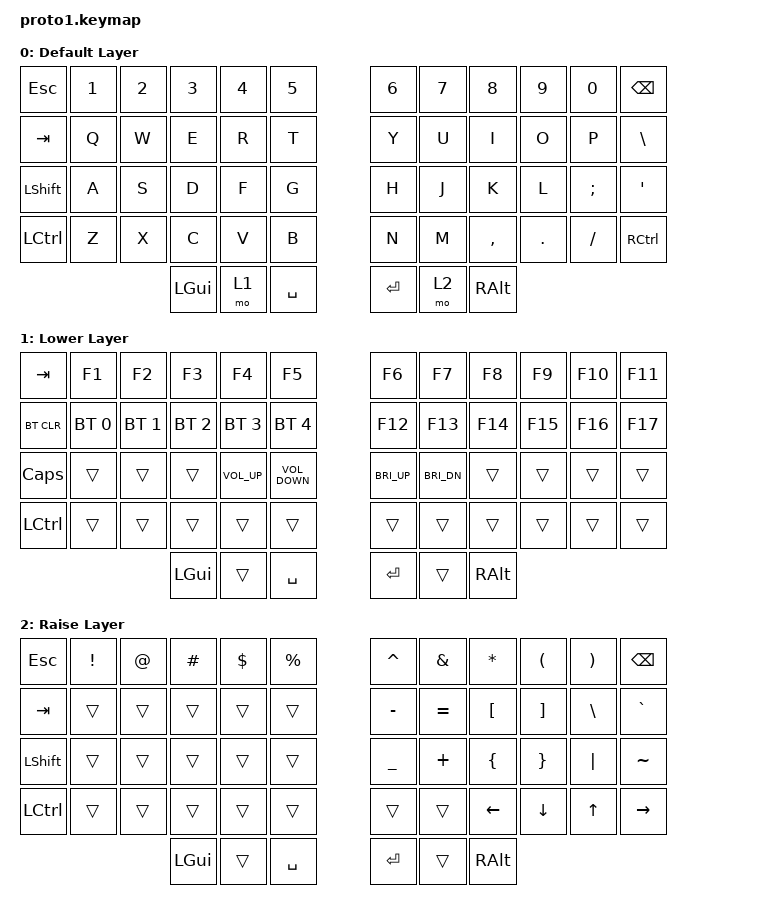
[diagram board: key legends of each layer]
#include <behaviors.dtsi>
#include <dt-bindings/zmk/keys.h>
#include <dt-bindings/zmk/bt.h>

/ {
        keymap {
                compatible = "zmk,keymap";

                default_layer {
                        display-name = "Default Layer";
// -----------------------------------------------------------------------------------------
// |  ESC |  1  |  2  |  3  |  4  |  5  |   |  6  |  7   |  8  |  9  |  0  | BSPC |
// |  TAB |  Q  |  W  |  E  |  R  |  T  |   |  Y  |  U   |  I  |  O  |  P  |  \   |
// | SHFT |  A  |  S  |  D  |  F  |  G  |   |  H  |  J   |  K  |  L  |  ;  |  '   |
// | CTRL |  Z  |  X  |  C  |  V  |  B  |   |  N  |  M   |  ,  |  .  |  /  | CTRL |
//                    | GUI | LWR | SPC |   | ENT | RSE  | ALT |
                        bindings = <
   &kp ESC   &kp N1 &kp N2 &kp N3   &kp N4 &kp N5     &kp N6  &kp N7 &kp N8    &kp N9  &kp N0   &kp BSPC
   &kp TAB   &kp Q  &kp W  &kp E    &kp R  &kp T      &kp Y   &kp U  &kp I     &kp O   &kp P    &kp BSLH
   &kp LSHFT &kp A  &kp S  &kp D    &kp F  &kp G      &kp H   &kp J  &kp K     &kp L   &kp SEMI &kp SQT
   &kp LCTRL &kp Z  &kp X  &kp C    &kp V  &kp B      &kp N   &kp M  &kp COMMA &kp DOT &kp FSLH &kp RCTRL
                           &kp LGUI &mo 1  &kp SPACE  &kp RET &mo 2  &kp RALT
                        >;
                };
                lower_layer { 
                        display-name = "Lower Layer";
// -----------------------------------------------------------------------------------------
// |  TAB | F1  | F2  | F3  | F4  |  F5 |   | F6  | F7  | F8  | F9  | F10 | F11  |
// | BTCLR| BT1 | BT2 | BT3 | BT4 | BT5 |   | F12 | F13 | F14 | F15 | F16 | F17  |
// | CAPS |     |     |     |VOL+ |VOL- |   | BR+ | BR- |     |     |     |      |
// | CTRL |     |     |     |     |     |   |     |     |     |     |     |      |
//                    | GUI |     | SPC |   | ENT |     | ALT |
                        bindings = <
   &kp TAB    &kp F1       &kp F2       &kp F3       &kp F4          &kp F5             &kp F6       &kp F7       &kp F8  &kp F9  &kp F10 &kp F11
   &bt BT_CLR &bt BT_SEL 0 &bt BT_SEL 1 &bt BT_SEL 2 &bt BT_SEL 3    &bt BT_SEL 4       &kp F12      &kp F13      &kp F14 &kp F15 &kp F16 &kp F17
   &kp CAPS   &trans       &trans       &trans       &kp C_VOLUME_UP &kp C_VOLUME_DOWN  &kp C_BRI_UP &kp C_BRI_DN &trans  &trans  &trans  &trans
   &kp LCTRL  &trans       &trans       &trans       &trans          &trans             &trans       &trans       &trans  &trans  &trans  &trans
                                        &kp LGUI     &trans          &kp SPACE          &kp RET      &trans       &kp RALT
                        >;
                };

                raise_layer {
                        display-name = "Raise Layer";
// -----------------------------------------------------------------------------------------
// | ESC  |  !  |  @  |  #  |  $  |  %  |   |  ^  |  &  |  *  |  (  |  )  | BSPC |
// | TAB  |     |     |     |     |     |   |  -  |  =  |  [  |  ]  |  \  |  `   |
// | SHFT |     |     |     |     |     |   |  _  |  +  |  {  |  }  | "|" |  ~   |
// | CTRL |     |     |     |     |     |   |     |     | LFT | DWN | UP  |  RGT |
//                    | GUI |     | SPC |   | ENT |     | ALT |
                        bindings = <
   &kp ESC   &kp EXCL &kp AT &kp HASH &kp DLLR &kp PRCNT   &kp CARET &kp AMPS  &kp ASTRK &kp LPAR &kp RPAR &kp BSPC
   &kp TAB   &trans   &trans &trans   &trans   &trans      &kp MINUS &kp EQUAL &kp LBKT  &kp RBKT &kp BSLH &kp GRAVE
   &kp LSHFT &trans   &trans &trans   &trans   &trans      &kp UNDER &kp PLUS  &kp LBRC  &kp RBRC &kp PIPE &kp TILDE
   &kp LCTRL &trans   &trans &trans   &trans   &trans      &trans    &trans    &kp LEFT  &kp DOWN &kp UP   &kp RIGHT
                             &kp LGUI &trans   &kp SPACE   &kp RET   &trans    &kp RALT
                        >;
                };
        };
};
